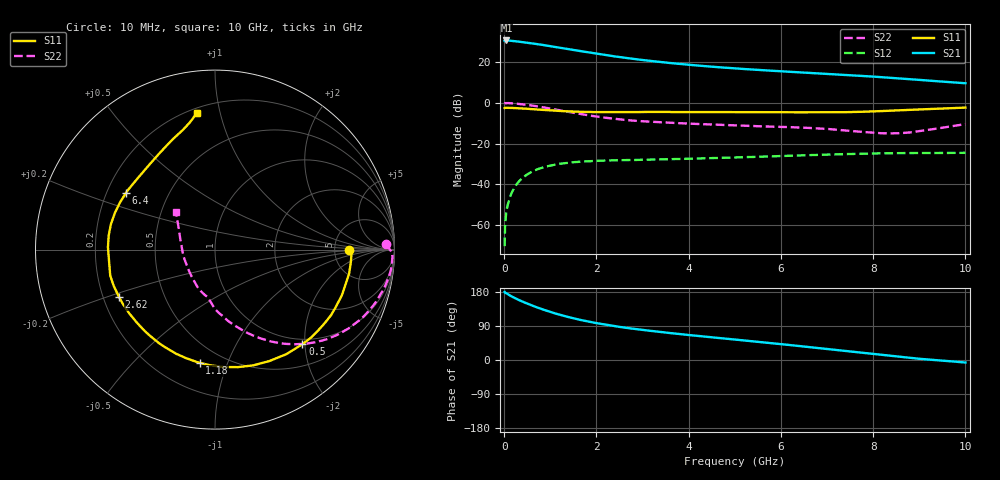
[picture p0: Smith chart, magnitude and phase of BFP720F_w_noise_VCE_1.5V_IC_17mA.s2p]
! Infineon Technologies  Discrete & RF Semiconductors
! BFP720F
! VCE =  1.5 V,  IC =  17 mA
! Common Emitter S-Parameters:  Jan 2016
# GHz  S  MA  R  50
!  f  S11  S21  S12  S22
! GHz  MAG  ANG  MAG  ANG  MAG  ANG  MAG  ANG
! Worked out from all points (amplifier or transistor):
!   233 points, 10 MHz to 10 GHz, reference 50 ohm
!   highest |S21| = 30.7 dB at 50 MHz (marker M1)
!   |S21| within 3 dB of that: start of sweep to 1.051 GHz
!   unconditionally stable (mu >= 1): start of sweep to 13.66 MHz; 5.766 GHz to end of sweep
!   at 200 MHz: K = 0.09, MSG = 36.5 dB, |S12| = -42.6 dB
!   at 1.74 GHz: K = 0.41, MSG = 27.0 dB, |S12| = -28.8 dB
!   at 10 GHz: K = 1.26, MAG = 14.1 dB, |S12| = -24.6 dB
!   lowest NFmin = 0.77 dB at 450 MHz
!   S11 on the Smith chart (normalised r, x): 10 MHz: 6.91, -0.04; 500 MHz: 0.90, -1.95; 1.18 GHz: 0.38, -0.80; 2.62 GHz: 0.27, -0.22; 6.4 GHz: 0.28, +0.27; 10 GHz: 0.23, +0.85
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0.01  0.7471 -0.1  33.7 179.5  0.0003 44.2  0.9546 1.8
0.02  0.7606 -1.9  34.15 177.3  0.0009 95.6  0.9869 -1.1
0.05  0.7602 -5.1  34.35 176.1  0.0022 89.0  0.9895 -2.4
0.1  0.7591 -10.1  34.32 172.2  0.0038 84.7  0.989 -5.3
0.15  0.7529 -15.3  33.67 168.5  0.0057 82.4  0.9828 -8.2
0.26  0.7449 -25.7  32.66 161.6  0.0096 77.7  0.9611 -14.0
0.4  0.7296 -38.7  31.16 153.9  0.0143 71.2  0.9249 -21.3
0.5  0.7177 -47.3  30.09 149.0  0.0174 67.2  0.8968 -25.9
0.6  0.7053 -55.7  29.21 144.1  0.0203 63.0  0.8639 -30.6
0.8  0.6794 -71.6  27.07 135.0  0.0251 55.8  0.7968 -38.9
1  0.6553 -86.1  24.87 126.8  0.0289 49.4  0.726 -46.3
1.18  0.6362 -97.7  23.05 120.4  0.0315 44.6  0.6666 -52.1
1.4  0.6193 -110.5  20.97 113.1  0.0339 39.6  0.6001 -58.6
1.68  0.6037 -124.5  18.58 105.1  0.0361 34.5  0.5273 -65.7
2.14  0.5948 -141.4  15.39 94.4  0.0381 28.8  0.441 -74.9
2.62  0.597 -153.6  12.86 85.3  0.0392 24.9  0.3823 -82.3
3.4  0.6005 -164.9  10.1 73.8  0.0409 22.3  0.3339 -89.5
5.1  0.5959 165.1  6.94 52.8  0.0459 19.9  0.2774 -97.2
6.4  0.588 147.8  5.655 36.8  0.0512 17.2  0.2488 -107.2
6.8  0.5854 141.4  5.324 31.6  0.0528 15.9  0.2358 -112.4
8.4  0.6461 113.4  4.135 10.6  0.058 9.3  0.1784 -163.0
10  0.7667 97.7  3.049 -6.7  0.0592 4.2  0.3014 136.2
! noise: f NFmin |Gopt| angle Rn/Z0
0.45  0.77  0.21  1  0.52
0.9  0.79  0.11  0  0.14
1.8  0.82  0.08  -6  0.16
2.4  0.83  0.08  -13  0.14
5.5  0.98  0.08  -18  0.1
10  1.15  0.35  -83  0.22
